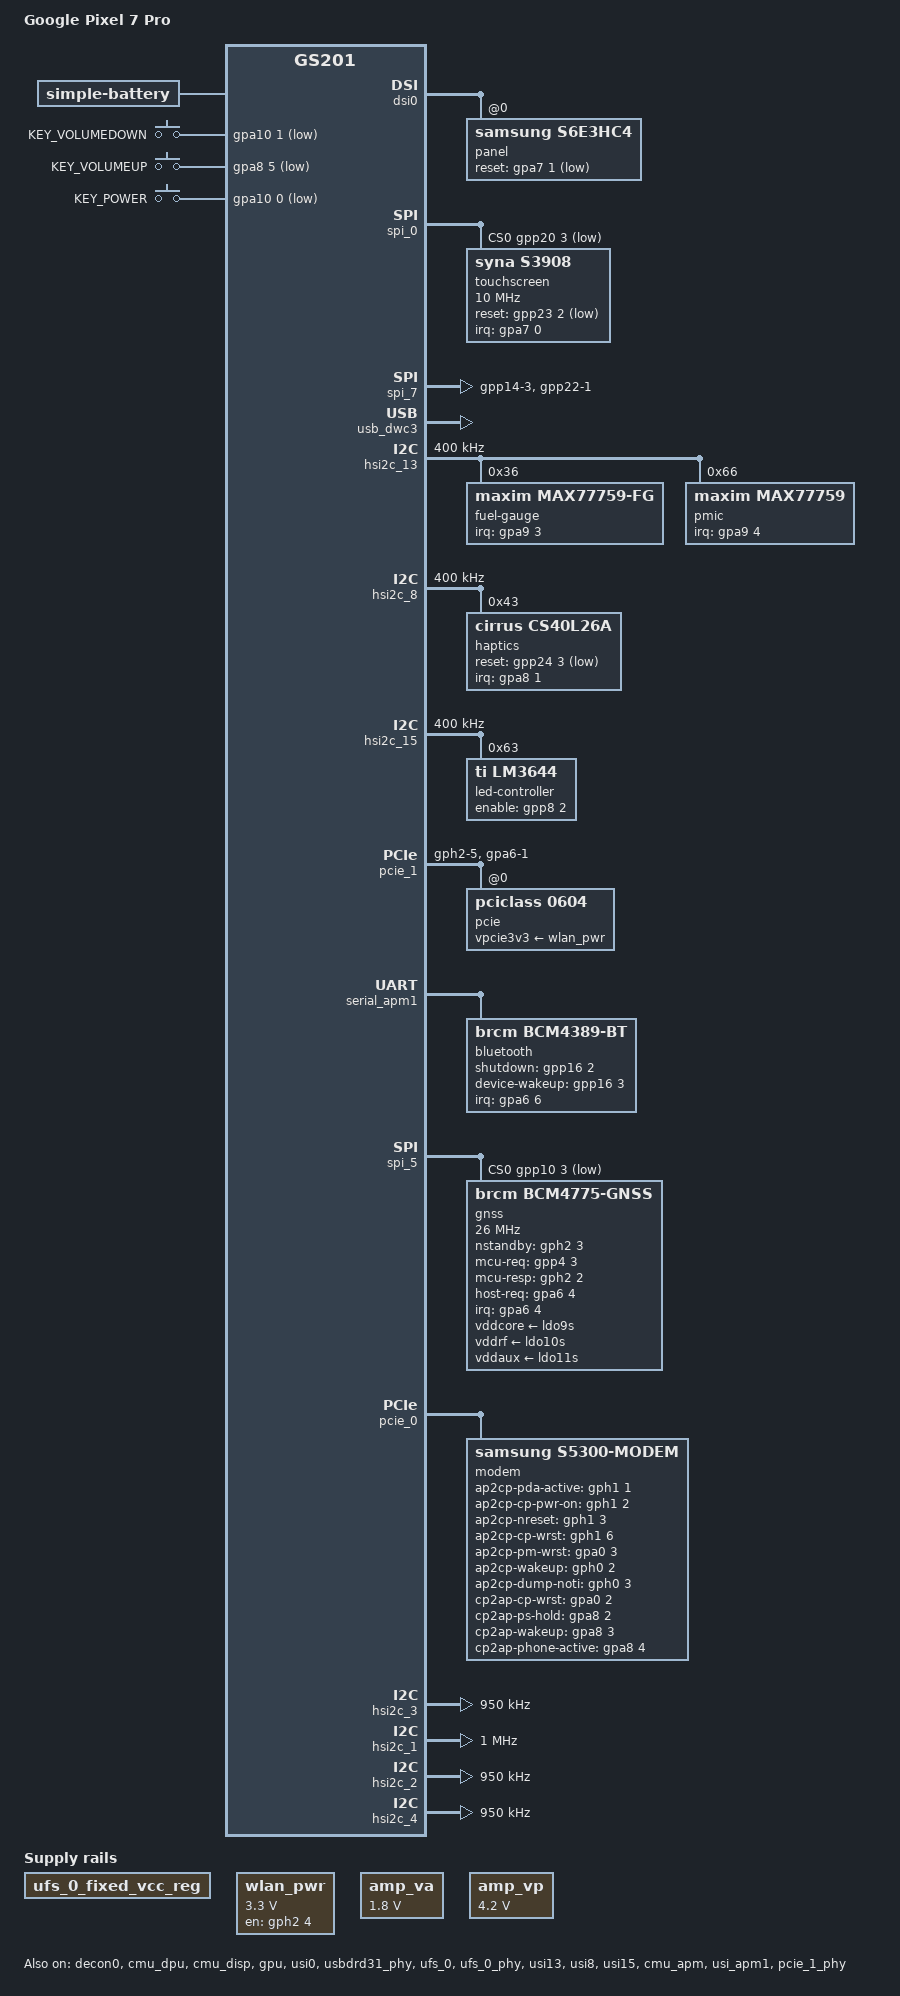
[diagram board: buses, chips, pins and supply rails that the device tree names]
// SPDX-License-Identifier: GPL-2.0-only
/*
 * Google Pixel 7 Pro (cheetah) - M1 bring-up board file.
 */

/dts-v1/;

#include <dt-bindings/input/input.h>
#include <dt-bindings/leds/common.h>
#include <dt-bindings/media/video-interfaces.h>
#include <dt-bindings/soc/samsung,exynos-usi.h>
#include <dt-bindings/usb/pd.h>
#include "gs201.dtsi"

/ {
	model = "Google Pixel 7 Pro";
	compatible = "google,gs201-cheetah", "google,gs201";

	/*
	 * ABL base-DTB match: (product id 0x09855000 | major rev). B0 = 1.
	 * Ship a second copy with 0x09855000 in the dtb section to be safe.
	 */
	soc_id = <0x09855001 0x0>;

	aliases {
		spi0 = &spi_0;
		spi5 = &spi_5;
	};

	chosen {
		/*
		 * ABL requires bootargs to exist; it appends its own after these.
		 * mem_sleep_default=s2idle: the firmware offers PSCI system
		 * suspend, so "mem" would otherwise mean "deep", which needs a
		 * PMU sleep sequence the kernel doesn't have yet.
		 */
		bootargs = "console=tty0 fbcon=font:TER16x32 quiet splash plymouth.force-scale=1 vt.global_cursor_default=0 panic=10 clk_ignore_unused pd_ignore_unused rdinit=/init omamobile.ufs-probe mem_sleep_default=s2idle";
		#address-cells = <2>;
		#size-cells = <1>;
		ranges;

		framebuffer0: framebuffer@fac00000 {
			compatible = "simple-framebuffer";
			memory-region = <&cont_splash_mem>;
			width = <1440>;
			height = <3120>;
			stride = <(1440 * 4)>;
			format = "a8r8g8b8";
			panel = <&panel>;
			/*
			 * Only the panel's size is read; simplefb must not wait for
			 * the panel device (it appears with the DSI host driver).
			 */
			post-init-providers = <&panel>;
		};
	};

	battery: battery {
		compatible = "simple-battery";
		charge-full-design-microamp-hours = <4926000>;
		/* Google's fv-max-uv; VEmpty of the gauge model */
		voltage-max-design-microvolt = <4450000>;
		voltage-min-design-microvolt = <3300000>;
		/*
		 * Charger limits without Google's step charging: the float
		 * voltage is fv-max-uv, the top of google,chg-cv-limits
		 * (4.2/4.3/4.45 V). The fast charge current is 0.3 C, the
		 * lowest google,chg-cc-limits entry at any voltage tier from
		 * 10 to 46 degC, and a charger selector (0x16) exactly.
		 */
		constant-charge-voltage-max-microvolt = <4450000>;
		constant-charge-current-max-microamp = <1466730>;
	};

	/*
	 * Goodix optical under-display fingerprint sensor. Trusty owns its SPI
	 * bus; Linux only switches its supply, reset and interrupt lines.
	 * Disabled until the fingerprint bring-up gates: it needs Trusty, and
	 * its supply needs the sub-PMIC (pmic-2) enabled.
	 */
	fingerprint {
		compatible = "goodix,g7-udfps";
		interrupt-parent = <&gpa9>;
		interrupts = <2 IRQ_TYPE_EDGE_RISING>;
		reset-gpios = <&gpp1 1 GPIO_ACTIVE_LOW>;
		vdd-supply = <&ldo15s>;
		pinctrl-0 = <&fp_irq &fp_reset>;
		pinctrl-names = "default";
		status = "disabled";
	};

	gpio-keys {
		compatible = "gpio-keys";
		pinctrl-0 = <&key_voldown>, <&key_volup>, <&key_power>;
		pinctrl-names = "default";

		button-vol-down {
			label = "KEY_VOLUMEDOWN";
			linux,code = <KEY_VOLUMEDOWN>;
			gpios = <&gpa10 1 GPIO_ACTIVE_LOW>;
			wakeup-source;
		};

		button-vol-up {
			label = "KEY_VOLUMEUP";
			linux,code = <KEY_VOLUMEUP>;
			gpios = <&gpa8 5 GPIO_ACTIVE_LOW>;
			wakeup-source;
		};

		/*
		 * PMIC_PWRON_OD_L: the S2MPG12 PWRONB line, also wired to the
		 * SoC. The PMIC's own long-press reset is unaffected.
		 */
		button-power {
			label = "KEY_POWER";
			linux,code = <KEY_POWER>;
			gpios = <&gpa10 0 GPIO_ACTIVE_LOW>;
			wakeup-source;
		};
	};

	/*
	 * UFS VCC. Google drives it from GPIO gpp0-1 (boot-on); there is no
	 * gs201 GPIO driver yet, so describe it as always on, as the
	 * bootloader leaves it.
	 */
	ufs_0_fixed_vcc_reg: regulator-ufs-vcc {
		compatible = "regulator-fixed";
		regulator-name = "ufs-vcc";
		regulator-always-on;
		regulator-boot-on;
	};

	/*
	 * WL_REG_ON of the BCM4389. Google raises it and waits 200 ms before
	 * training the link (WIFI_TURNON_DELAY in bcmdhd). Modelled as the
	 * root port's supply so the PCI pwrctrl core switches it around link
	 * training. With pcie_1 disabled nothing enables it, so the chip
	 * stays off.
	 */
	wlan_pwr: regulator-wlan {
		compatible = "regulator-fixed";
		regulator-name = "wlan-reg-on";
		regulator-min-microvolt = <3300000>;
		regulator-max-microvolt = <3300000>;
		gpio = <&gph2 4 GPIO_ACTIVE_HIGH>;
		enable-active-high;
		startup-delay-us = <200000>;
		pinctrl-0 = <&wlan_reg_on>;
		pinctrl-names = "default";
	};

	reserved-memory {
		#address-cells = <2>;
		#size-cells = <1>;
		ranges;

		/*
		 * All of the Wi-Fi chip's DMA buffers come from this pool. It
		 * keeps driver bugs and stray pointers away from the rest of
		 * RAM; it does not stop the chip's own firmware from reaching
		 * other memory (the HSI2 SysMMU and S2MPU see the PCIe and UFS
		 * masters on the same VID, so neither can confine it alone).
		 */
		wifi_dma_pool: wifi-dma-pool {
			compatible = "restricted-dma-pool";
			size = <0x1000000>;
			alignment = <0x0 0x200000>;
			/* the chip's writes above 4 GiB are not seen */
			alloc-ranges = <0x0 0x80000000 0x80000000>;
		};

		/*
		 * Camera capture buffers: the CSIS WDMA takes 32-bit addresses
		 * and its SysMMU is left in bypass, so frames go to contiguous
		 * memory below 4 GiB. Four 12.5 MP RAW10 frames are about
		 * 63 MiB; reusable, so the pages serve movable allocations while
		 * no camera streams.
		 */
		camera_pool: camera-pool {
			compatible = "shared-dma-pool";
			reusable;
			size = <0x8000000>;
			/* read with the root's #address-cells (2), not #size-cells */
			alignment = <0x0 0x200000>;
			alloc-ranges = <0x0 0x80000000 0x80000000>;
		};

		/* [I] verify against the ABL-injected node in /sys/firmware/fdt */
		/*
		 * Same region and layout as stock Android, so a log written by
		 * this kernel can be read from /sys/fs/pstore after a warm
		 * reboot into the stock slot.
		 */
		ramoops@fd3ff000 {
			compatible = "ramoops";
			reg = <0x0 0xfd3ff000 0x400000>;
			console-size = <0x200000>;
			pmsg-size = <0x200000>;
		};

		cont_splash_mem: splash@fac00000 {
			reg = <0x0 0xfac00000 (1440 * 3120 * 4)>;
			no-map;
		};

		/*
		 * Scanout buffers for gs-decon: DPP0 takes 32-bit addresses and
		 * the DPU SysMMU is bypassed. Room for five 1440x3120 XRGB8888
		 * buffers. Reusable, so the pages serve movable allocations
		 * while unused.
		 */
		display_pool: display-pool {
			compatible = "shared-dma-pool";
			reusable;
			size = <0x5c00000>;
			/* read with the root's #address-cells (2), not #size-cells */
			alignment = <0x0 0x200000>;
			alloc-ranges = <0x0 0x80000000 0x80000000>;
		};
	};
};

&acpm_ipc {
	/*
	 * Main PMIC, for its RTC (the wake-up timer for suspend tests). The
	 * driver only reads and writes the RTC and the interrupt masks; the
	 * rails stay as the bootloader set them. Disabled until proven on
	 * the phone (SUSPEND-PLAN.md).
	 */
	pmic-1 {
		compatible = "samsung,s2mpg12-pmic";
		interrupts = <GIC_SPI 72 IRQ_TYPE_LEVEL_HIGH>;
		google,vgpio2ap-sysreg = <&sysreg_vgpio2ap>;
		wakeup-source;
		status = "disabled";
	};

	/*
	 * Sub PMIC, for its LDOs (GNSS first). Only the LDO control
	 * registers are writable through it, and only rails described
	 * below can be switched; the rest have no constraints and are left
	 * as the bootloader set them. No interrupt yet (gpa0-1 on stock).
	 * Disabled until proven on the phone (GNSS-PLAN.md, G1).
	 */
	pmic-2 {
		compatible = "samsung,s2mpg13-pmic";
		status = "disabled";

		/*
		 * GPIO0 wakes the camera PMIC (SLG51002 chip select), GPIO1
		 * enables PP3200_BB_CAM and GPIO3 PP1300_CAM; the others are
		 * unused on cheetah. Nothing here switches a pin: only the
		 * camera nodes below, disabled until camera-pwr-test, do.
		 */
		pmic_2_gpio: gpio {
			compatible = "samsung,s2mpg13-gpio";
			gpio-controller;
			#gpio-cells = <2>;
		};

		regulators {
			/*
			 * GNSS: L9S_GNSS_CORE, L10S_GNSS_RF, L11S_GNSS_AUX.
			 * The ranges are stock's, so nothing sets a voltage
			 * at probe; they are switched by the GNSS driver.
			 */
			ldo9s: ldo9s {
				regulator-name = "vdd_gnss_core";
				regulator-min-microvolt = <725000>;
				regulator-max-microvolt = <1300000>;
			};

			ldo10s: ldo10s {
				regulator-name = "vdd_gnss_rf";
				regulator-min-microvolt = <1600000>;
				regulator-max-microvolt = <1950000>;
			};

			ldo11s: ldo11s {
				regulator-name = "vdd_gnss_aux";
				regulator-min-microvolt = <1600000>;
				regulator-max-microvolt = <1950000>;
			};

			/*
			 * Fingerprint: L15S_UDFPS_AVDD, the sensor's analog
			 * supply, with stock's range. Off at hand-off (stock
			 * keeps it on only through regulator-always-on);
			 * switched by the goodix-fp driver.
			 */
			ldo15s: ldo15s {
				regulator-name = "vdd_udfps";
				regulator-min-microvolt = <2500000>;
				regulator-max-microvolt = <3300000>;
			};

			/*
			 * L12S_CAMIO: the 1.8 V I/O supply of every camera
			 * sensor, EEPROM, actuator and the laser AF. Stock
			 * voltage. Disabled (so not described, and never
			 * switched) until camera-pwr-test.
			 */
			ldo12s: ldo12s {
				regulator-name = "vddio_cam";
				regulator-min-microvolt = <1800000>;
				regulator-max-microvolt = <1800000>;
				status = "disabled";
			};
		};
	};
};

&dsi0 {
	/*
	 * The bootloader leaves DECON0 -> DSIM0 -> panel running in command
	 * mode; simplefb scans out its framebuffer and reads the panel size
	 * here. Enabled only for display bring-up (DISPLAY-PLAN.md, gate D1).
	 */
	status = "okay";

	panel: panel@0 {
		compatible = "samsung,s6e3hc4";
		reg = <0>;
		/* high = running; the bootloader leaves it high */
		reset-gpios = <&gpa7 1 GPIO_ACTIVE_LOW>;
		/* vddi (S2MPG13 BUCKA), vddd (S2MPG12 LDO28), vci (LDO27): no driver yet */
		width-mm = <71>;
		height-mm = <155>;
	};
};

/*
 * Flip-only KMS on the bootloader's pipeline (DISPLAY-PLAN.md, D4a/D5d):
 * gs-decon takes the screen over from simpledrm once it and the DSIM and
 * panel drivers have probed.
 */
&decon0 {
	memory-region = <&display_pool>, <&cont_splash_mem>;
	memory-region-names = "pool", "boot-framebuffer";
	status = "okay";
};

/* Display bring-up, gate D1b: the DPU and DISP clock controllers. */
&cmu_dpu {
	status = "okay";
};

&cmu_disp {
	status = "okay";
};

&gpu {
	/* No mali-supply: the G3D rails follow the PMU power domain and ACPM. */
	status = "okay";
};

/* Touchscreen: Synaptics S3908 on USI0 SPI */
&usi0 {
	samsung,mode = <USI_MODE_SPI>;
	status = "okay";
};

&spi_0 {
	pinctrl-0 = <&spi0_bus &spi0_miso &spi0_cs_gpio>;
	cs-gpios = <&gpp20 3 GPIO_ACTIVE_LOW>;
	num-cs = <1>;
	status = "okay";

	/*
	 * The 1.8 V (VDD) and 3.3 V (AVDD) supplies are S2MPG12 LDO25M and
	 * LDO26M. There is no S2MPG12 regulator driver yet; the bootloader
	 * leaves both on.
	 */
	touchscreen@0 {
		compatible = "syna,s3908";
		reg = <0>;
		spi-max-frequency = <10000000>;
		interrupt-parent = <&gpa7>;
		interrupts = <0 IRQ_TYPE_LEVEL_LOW>;
		reset-gpios = <&gpp23 2 GPIO_ACTIVE_LOW>;
		pinctrl-0 = <&ts_irq &ts_reset>;
		pinctrl-names = "default";
		touchscreen-x-mm = <71>;
		touchscreen-y-mm = <154>;
	};
};

/*
 * Speaker amplifiers: two Cirrus Logic CS35L41 (revision B2) on PERIC0 USI7
 * SPI, from Google's gs201-cheetah-audio.dtsi. Chip select 0 is the top
 * speaker, which is also the earpiece; chip select 1 is the bottom
 * loudspeaker. Their audio port (TDM) is wired to the AoC audio DSP, so
 * without an AoC driver these nodes give register access only, no sound.
 *
 * The boost values are the stock ones, except the peak current: 2.5 A (stock
 * speaker playback) instead of the stock DT default of 3.5 A (voice calls),
 * until the bring-up gates in AUDIO-PLAN.md have passed. The inductor and
 * capacitor values select the boost loop coefficients and must stay as they
 * are. Everything stays disabled until a bring-up overlay enables it.
 */
/ {
	/* S2MPG13 BUCKA ("SA"), always on; no S2MPG13 regulator driver yet. */
	amp_va: regulator-amp-va {
		compatible = "regulator-fixed";
		regulator-name = "amp-va";
		regulator-min-microvolt = <1800000>;
		regulator-max-microvolt = <1800000>;
		regulator-always-on;
		regulator-boot-on;
	};

	/* The amplifiers' VP pins sit directly on VSYS (stock: V_SYS_DUMMY). */
	amp_vp: regulator-amp-vp {
		compatible = "regulator-fixed";
		regulator-name = "amp-vp";
		regulator-min-microvolt = <4200000>;
		regulator-max-microvolt = <4200000>;
		regulator-always-on;
		regulator-boot-on;
	};
};

&usi7 {
	samsung,mode = <USI_MODE_SPI>;
};

&spi_7 {
	pinctrl-0 = <&spi7_bus &spi7_miso &amp_top_cs &amp_bottom_cs>;
	cs-gpios = <&gpp14 3 GPIO_ACTIVE_LOW>, <&gpp22 1 GPIO_ACTIVE_LOW>;
	num-cs = <2>;

	amp_top: amplifier@0 {
		compatible = "cirrus,cs35l41";
		reg = <0>;
		#sound-dai-cells = <1>;
		interrupts-extended = <&gpa6 3 IRQ_TYPE_LEVEL_HIGH>;
		/* AMP1_RESET_L: the driver drives 1 to release reset */
		reset-gpios = <&gpp17 1 GPIO_ACTIVE_HIGH>;
		pinctrl-0 = <&amp_top_irq &amp_top_rst>;
		pinctrl-names = "default";
		VA-supply = <&amp_va>;
		VP-supply = <&amp_vp>;
		sound-name-prefix = "Top";
		cirrus,subsystem-id = "cheetah";
		cirrus,boost-type = <0>;
		cirrus,boost-peak-milliamp = <2500>;
		cirrus,boost-ind-nanohenry = <1000>;
		cirrus,boost-cap-microfarad = <30>;
		cirrus,asp-sdout-hiz = <3>;
		/* the stock protection firmware does not survive hibernation */
		cirrus,dsp-no-hibernate;
		/* GPIO2 = push-pull interrupt, active high */
		cirrus,gpio2-src-select = <5>;
		cirrus,gpio2-output-enable;
		status = "disabled";
	};

	amp_bottom: amplifier@1 {
		compatible = "cirrus,cs35l41";
		reg = <1>;
		#sound-dai-cells = <1>;
		interrupts-extended = <&gpa8 6 IRQ_TYPE_LEVEL_HIGH>;
		/* AMP2_RESET_L: the driver drives 1 to release reset */
		reset-gpios = <&gpp25 2 GPIO_ACTIVE_HIGH>;
		pinctrl-0 = <&amp_bottom_irq &amp_bottom_rst>;
		pinctrl-names = "default";
		VA-supply = <&amp_va>;
		VP-supply = <&amp_vp>;
		sound-name-prefix = "Bottom";
		cirrus,subsystem-id = "cheetah";
		cirrus,boost-type = <0>;
		cirrus,boost-peak-milliamp = <2500>;
		cirrus,boost-ind-nanohenry = <1000>;
		cirrus,boost-cap-microfarad = <30>;
		cirrus,asp-sdout-hiz = <3>;
		/* the stock protection firmware does not survive hibernation */
		cirrus,dsp-no-hibernate;
		cirrus,gpio2-src-select = <5>;
		cirrus,gpio2-output-enable;
		status = "disabled";
	};
};

&pinctrl_far_alive {
	amp_top_irq: amp-top-irq-pins {
		samsung,pins = "gpa6-3";
		samsung,pin-function = <GS101_PIN_FUNC_EINT>;
		samsung,pin-pud = <GS101_PIN_PULL_NONE>;
	};

	amp_bottom_irq: amp-bottom-irq-pins {
		samsung,pins = "gpa8-6";
		samsung,pin-function = <GS101_PIN_FUNC_EINT>;
		samsung,pin-pud = <GS101_PIN_PULL_NONE>;
	};
};

&pinctrl_peric0 {
	amp_top_cs: amp-top-cs-pins {
		samsung,pins = "gpp14-3";
		samsung,pin-function = <GS101_PIN_FUNC_OUTPUT>;
		samsung,pin-pud = <GS101_PIN_PULL_NONE>;
		samsung,pin-drv = <GS101_PIN_DRV_5_MA>;
	};

	amp_top_rst: amp-top-rst-pins {
		samsung,pins = "gpp17-1";
		samsung,pin-function = <GS101_PIN_FUNC_OUTPUT>;
		samsung,pin-pud = <GS101_PIN_PULL_NONE>;
	};
};

&pinctrl_peric1 {
	amp_bottom_cs: amp-bottom-cs-pins {
		samsung,pins = "gpp22-1";
		samsung,pin-function = <GS101_PIN_FUNC_OUTPUT>;
		samsung,pin-pud = <GS101_PIN_PULL_NONE>;
	};

	amp_bottom_rst: amp-bottom-rst-pins {
		samsung,pins = "gpp25-2";
		samsung,pin-function = <GS101_PIN_FUNC_OUTPUT>;
		samsung,pin-pud = <GS101_PIN_PULL_NONE>;
	};
};

&usbdrd31_phy {
	status = "okay";
};

&usb_dwc3 {
	status = "okay";
};

&ufs_0 {
	vcc-supply = <&ufs_0_fixed_vcc_reg>;
	status = "okay";
};

&ufs_0_phy {
	status = "okay";
};

/*
 * MAX77759 (charger, Type-C port controller, fuel gauge) on USI13. All of
 * its interrupt lines are on ALIVE gpa9, active low with pull-ups.
 *
 * The Type-C port controller stays disabled: the USB link is our only way
 * into the phone, and TCPM would take over VBUS and data role from the
 * forced-VBUS setup the USB PHY uses today. Its graph links to the USB PHY
 * (orientation, i.e. VBUS valid) and dwc3 (role switch) are added by the
 * bring-up overlays. The charger has no DT node of its own (it is an MFD
 * cell of pmic@66, which carries its monitored-battery); its probe turns
 * charging off until a "tcpm-source" power supply reports a source, unless
 * it is loaded with default_ilim_ua.
 */
&usi13 {
	samsung,mode = <USI_MODE_I2C>;
	status = "okay";
};

&hsi2c_13 {
	clock-frequency = <400000>;
	status = "okay";

	usb-typec@25 {
		compatible = "maxim,max77759-tcpci", "maxim,max33359";
		reg = <0x25>;
		interrupts-extended = <&gpa9 7 IRQ_TYPE_LEVEL_LOW>;
		pinctrl-0 = <&typec_int>;
		pinctrl-names = "default";
		status = "disabled";

		/*
		 * Sink only for now: sourcing VBUS goes through an external
		 * boost on this board (stock: max77759,ext-otg-only, switched
		 * by MAX77759 GPIO5 "bst-on" and the TCPC's EXTBST_CTRL), which
		 * has no driver yet, so there is no vbus-supply. MAX77759 GPIO6
		 * is the VBUS input switch (stock in-switch-gpio): leave it.
		 * Stock is dual role with try-sink and a 5 V / 900 mA source
		 * PDO. Sink PDOs as on gs101 and stock; PD stays off.
		 */
		connector {
			compatible = "usb-c-connector";
			label = "USB-C";
			data-role = "dual";
			power-role = "sink";
			self-powered;
			op-sink-microwatt = <2600000>;
			sink-pdos = <PDO_FIXED(5000, 3000,
					       (PDO_FIXED_DATA_SWAP
						| PDO_FIXED_USB_COMM
						| PDO_FIXED_HIGHER_CAP
						| PDO_FIXED_DUAL_ROLE))
				     PDO_FIXED(9000, 2200, 0)
				     PDO_PPS_APDO(5000, 11000, 3000)>;
			pd-disable;
			typec-power-opmode = "default";
		};
	};

	fuel-gauge@36 {
		compatible = "maxim,max77759-fg";
		reg = <0x36>;
		interrupts-extended = <&gpa9 3 IRQ_TYPE_LEVEL_LOW>;
		pinctrl-0 = <&if_pmic_fg_int>;
		pinctrl-names = "default";
		/* maxim,rsense-default = <500> (10 uOhm units) in Google's tree */
		shunt-resistor-micro-ohms = <5000>;
		monitored-battery = <&battery>;

		/*
		 * Battery model for the pack with a 1 kOhm ID resistor, the one
		 * this phone has (stock: "device battery RID: 1 kohm"). From
		 * Google's gs201-cheetah-battery-data.dtsi (cos-a1-1k, model
		 * version 1), except RelaxCfg 0x143b and FilterCfg 0xc613, the
		 * values stock writes over the model's at boot (r_regval_1720x,
		 * filtercfg-default). TaskPeriod 0x2d00 makes one capacity LSB
		 * 2 mAh with 5 mOhm: DesignCap 0x09c5 = 5002 mAh.
		 */
		maxim,fg-model = /bits/ 16 <
			0xa4e0 0xb750 0xb8a0 0xba60 0xbc10 0xbdd0 0xbf30 0xc070
			0xc1e0 0xc4b0 0xc7f0 0xcd80 0xd130 0xd4e0 0xd920 0xdca0
			0x0120 0x1240 0x0c00 0x12a0 0x1400 0x1700 0x1060 0x0fd0
			0x07e0 0x07f0 0x07c0 0x06d0 0x06c0 0x06f0 0x0640 0x0640
			0x0200 0x0200 0x0200 0x0200 0x0200 0x0200 0x0200 0x0200
			0x0200 0x0200 0x0200 0x0200 0x0200 0x0200 0x0200 0x0200
		>;
		maxim,fg-params = /bits/ 16 <
			0xf060	/* IAvgEmpty */
			0x143b	/* RelaxCfg */
			0x260e	/* LearnCfg */
			0x4217	/* Config: external thermistor, TEx clear */
			0x0090	/* Config2 */
			0x5f00	/* FullSOCThr */
			0x09c5	/* FullCapRep */
			0x09c5	/* DesignCap */
			0x3200	/* dPAcc */
			0x0271	/* dQAcc */
			0x09c5	/* FullCapNom */
			0xa561	/* VEmpty */
			0x2080	/* QRTable00 */
			0x0e80	/* QRTable10 */
			0x0580	/* QRTable20 */
			0x0480	/* QRTable30 */
			0x0770	/* RComp0 */
			0x2202	/* TempCo */
			0x0628	/* IChgTerm */
			0xed51	/* TGain */
			0x1eba	/* TOff */
			0x0014	/* Curve */
			0x3870	/* MiscCfg */
			0x1900	/* AtRate */
			0x2241	/* ConvgCfg */
			0xc613	/* FilterCfg */
			0x2d00	/* TaskPeriod */
		>;
	};

	pmic@66 {
		compatible = "maxim,max77759";
		reg = <0x66>;
		interrupts-extended = <&gpa9 4 IRQ_TYPE_LEVEL_LOW>;
		pinctrl-0 = <&if_pmic_int>;
		pinctrl-names = "default";
		interrupt-controller;
		#interrupt-cells = <2>;
		/* for the charger cell */
		monitored-battery = <&battery>;

		gpio {
			compatible = "maxim,max77759-gpio";
			gpio-controller;
			#gpio-cells = <2>;
			interrupt-controller;
			#interrupt-cells = <2>;
		};
	};
};

/*
 * Haptics: Cirrus Logic CS40L26A at 0x43 on PERIC0 USI8 (Google's I2C bus
 * 8), INTb on gpa8-1, RESET on gpp24-3. Boost and actuator values are the
 * stock ones (Google's gs201-cs40l26a-config.dtsi). Tested on the phone
 * (HAPTICS-TORCH-PLAN.md H1-H4). The bus pins are on PERIC0 (gpp16-0/1).
 */
&pinctrl_peric0 {
	status = "okay";
};

&usi8 {
	samsung,mode = <USI_MODE_I2C>;
	status = "okay";
};

&hsi2c_8 {
	clock-frequency = <400000>;
	status = "okay";

	haptics: haptic-driver@43 {
		compatible = "cirrus,cs40l26a";
		reg = <0x43>;
		interrupts-extended = <&gpa8 1 IRQ_TYPE_LEVEL_LOW>;
		reset-gpios = <&gpp24 3 GPIO_ACTIVE_LOW>;
		pinctrl-0 = <&hapt_amp_irq &hapt_amp_rst>;
		pinctrl-names = "default";
		cirrus,boost-peak-microamp = <2500000>;
		cirrus,boost-ctl-microvolt = <11000000>;
		cirrus,lra-f0-hz = <145>;
		cirrus,lra-redc-micro-ohms = <13000000>;
	};

	/*
	 * NFC: the NCI controller of the ST54J (NFC + eSE combo) at 0x08,
	 * IRQ on gpa9-1, reset on gph1-5 (HSI1). Stock: st21nfc@8. The eSE
	 * side (SPI, reset gph1-4) is left alone: no ese-present here.
	 * The reference clock is the PMU's CLKOUT1 pad, which stock enables
	 * while the device is open. Disabled until the nfc-test overlay.
	 */
	nfc@8 {
		compatible = "st,st54j-i2c", "st,st21nfcc-i2c";
		reg = <0x08>;
		clocks = <&pmu_system_controller 1>;	/* CLKOUT1 */
		interrupts-extended = <&gpa9 1 IRQ_TYPE_LEVEL_HIGH>;
		reset-gpios = <&gph1 5 GPIO_ACTIVE_HIGH>;
		pinctrl-0 = <&nfc_rst>;
		pinctrl-names = "default";
		status = "disabled";
	};
};

/*
 * Rear flash LED: TI LM3644TT at 0x63 on PERIC1 USI15 (Google's I2C bus 15,
 * shared with the camera EEPROM), HWEN on gpp8-2. Stock drives it from the
 * camera HAL through LWIS. Torch only; the cap here is our own bring-up
 * limit, not a stock value. Tested on the phone (T1-T4).
 */
&usi15 {
	samsung,mode = <USI_MODE_I2C>;
	status = "okay";
};

&hsi2c_15 {
	clock-frequency = <400000>;
	status = "okay";

	led-controller@63 {
		compatible = "ti,lm3644";
		reg = <0x63>;
		enable-gpios = <&gpp8 2 GPIO_ACTIVE_HIGH>;

		led {
			function = LED_FUNCTION_TORCH;
			color = <LED_COLOR_ID_WHITE>;
			led-sources = <1 2>;
			led-max-microamp = <50000>;
		};
	};
};

&pinctrl_far_alive {
	hapt_amp_irq: hapt-amp-irq-pins {
		samsung,pins = "gpa8-1";
		samsung,pin-function = <GS101_PIN_FUNC_EINT>;
		samsung,pin-pud = <GS101_PIN_PULL_NONE>;
		samsung,pin-drv = <GS101_PIN_DRV_2_5_MA>;
	};
};

&pinctrl_peric1 {
	hapt_amp_rst: hapt-amp-rst-pins {
		samsung,pins = "gpp24-3";
		samsung,pin-function = <GS101_PIN_FUNC_OUTPUT>;
		samsung,pin-pud = <GS101_PIN_PULL_NONE>;
		samsung,pin-drv = <GS101_PIN_DRV_2_5_MA>;
	};
};

&pinctrl_gpio_alive {
	fp_irq: fp-irq-pins {
		samsung,pins = "gpa9-2";
		samsung,pin-function = <GS101_PIN_FUNC_EINT>;
		samsung,pin-pud = <GS101_PIN_PULL_NONE>;
		samsung,pin-drv = <GS101_PIN_DRV_2_5_MA>;
	};

	if_pmic_fg_int: if-pmic-fg-int-pins {
		samsung,pins = "gpa9-3";
		samsung,pin-function = <GS101_PIN_FUNC_EINT>;
		samsung,pin-pud = <GS101_PIN_PULL_UP>;
		samsung,pin-drv = <GS101_PIN_DRV_2_5_MA>;
	};

	if_pmic_int: if-pmic-int-pins {
		samsung,pins = "gpa9-4";
		samsung,pin-function = <GS101_PIN_FUNC_EINT>;
		samsung,pin-pud = <GS101_PIN_PULL_UP>;
		samsung,pin-drv = <GS101_PIN_DRV_2_5_MA>;
	};

	typec_int: typec-int-pins {
		samsung,pins = "gpa9-7";
		samsung,pin-function = <GS101_PIN_FUNC_EINT>;
		samsung,pin-pud = <GS101_PIN_PULL_UP>;
		samsung,pin-drv = <GS101_PIN_DRV_2_5_MA>;
	};
};

/*
 * Wi-Fi: BCM4389 on PCIe GEN4A_1, one lane at Gen2 as on stock. The chip's
 * DMA buffers come from wifi_dma_pool. The chip's 0.85 V and 1.8 V PCIe
 * rails (S2MPG13 LDO3 and LDO18) are always on.
 */
&pcie_1 {
	status = "okay";
	pinctrl-0 = <&pcie1_clkreq>, <&pcie1_perst>, <&wlan_dev_wake>,
		    <&wlan_host_wake>;
	pinctrl-names = "default";

	pcie@0,0 {
		compatible = "pciclass,0604";
		device_type = "pci";
		reg = <0x0 0x0 0x0 0x0 0x0>;
		bus-range = <0x01 0xff>;
		#address-cells = <3>;
		#size-cells = <2>;
		ranges;
		vpcie3v3-supply = <&wlan_pwr>;

		wifi@0,0 {
			compatible = "pci14e4,4441";
			reg = <0x10000 0x0 0x0 0x0 0x0>;
			brcm,board-type = "google,gs201-cheetah";
			memory-region = <&wifi_dma_pool>;
		};
	};
};

/*
 * Bluetooth: the BCM4389 BT core on the APM USI1 UART (ttySAC18 in
 * Google's kernel). Tested on the phone (BLUETOOTH-PLAN.md BT1-BT3): the
 * UART clocks come from a read-only CMU_APM subset, and BT_REG_ON and
 * BT_DEV_WAKE are on PERIC0's gpp16. BT_REG_ON is separate from Wi-Fi's
 * WL_REG_ON (gph2-4), so Bluetooth powers up alone.
 */
&cmu_apm {
	status = "okay";
};

&usi_apm1 {
	status = "okay";
};

&serial_apm1 {
	status = "okay";

	bluetooth {
		compatible = "brcm,bcm4389-bt";
		shutdown-gpios = <&gpp16 2 GPIO_ACTIVE_HIGH>;
		device-wakeup-gpios = <&gpp16 3 GPIO_ACTIVE_HIGH>;
		interrupts-extended = <&gpa6 6 IRQ_TYPE_EDGE_RISING>;
		interrupt-names = "host-wakeup";
		pinctrl-0 = <&bt_reg_on &bt_dev_wake &bt_host_wake>;
		pinctrl-names = "default";
		max-speed = <3000000>;
	};
};

&pinctrl_peric0 {
	status = "okay";

	bt_reg_on: bt-reg-on-pins {
		samsung,pins = "gpp16-2";
		samsung,pin-function = <GS101_PIN_FUNC_OUTPUT>;
		samsung,pin-pud = <GS101_PIN_PULL_NONE>;
		samsung,pin-drv = <GS101_PIN_DRV_2_5_MA>;
	};

	bt_dev_wake: bt-dev-wake-pins {
		samsung,pins = "gpp16-3";
		samsung,pin-function = <GS101_PIN_FUNC_OUTPUT>;
		samsung,pin-pud = <GS101_PIN_PULL_NONE>;
		samsung,pin-drv = <GS101_PIN_DRV_2_5_MA>;
	};
};

&pcie_1_phy {
	status = "okay";
};

/*
 * The window for the PCIe System MMU. The node stays disabled: the PCIe and
 * UFS masters share its VID 0, so it cannot confine the Wi-Fi chip without
 * also confining storage.
 */
&pcie_1_sysmmu {
	google,dma-window = <&wifi_dma_pool>;
};

&pinctrl_far_alive {
	wlan_host_wake: wlan-host-wake-pins {
		samsung,pins = "gpa6-1";
		samsung,pin-function = <GS101_PIN_FUNC_EINT>;
		samsung,pin-pud = <GS101_PIN_PULL_DOWN>;
		samsung,pin-drv = <GS101_PIN_DRV_2_5_MA>;
	};

	bt_host_wake: bt-host-wake-pins {
		samsung,pins = "gpa6-6";
		samsung,pin-function = <GS101_PIN_FUNC_EINT>;
		samsung,pin-pud = <GS101_PIN_PULL_DOWN>;
		samsung,pin-drv = <GS101_PIN_DRV_2_5_MA>;
	};
};

&pinctrl_hsi2 {
	status = "okay";

	wlan_reg_on: wlan-reg-on-pins {
		samsung,pins = "gph2-4";
		samsung,pin-function = <GS101_PIN_FUNC_OUTPUT>;
		samsung,pin-pud = <GS101_PIN_PULL_NONE>;
		samsung,pin-drv = <GS101_PIN_DRV_2_5_MA>;
		samsung,pin-con-pdn = <GS101_PIN_PDN_PREV>;
		samsung,pin-pud-pdn = <GS101_PIN_PULL_NONE>;
	};

	wlan_dev_wake: wlan-dev-wake-pins {
		samsung,pins = "gph2-5";
		samsung,pin-function = <GS101_PIN_FUNC_INPUT>;
		samsung,pin-pud = <GS101_PIN_PULL_DOWN>;
		samsung,pin-drv = <GS101_PIN_DRV_2_5_MA>;
		samsung,pin-con-pdn = <GS101_PIN_PDN_PREV>;
		samsung,pin-pud-pdn = <GS101_PIN_PULL_DOWN>;
	};
};

/*
 * GNSS: Broadcom BCM4775x on PERIC0 USI5 SPI (Google's spi5), 26 MHz, mode 3,
 * as on stock (spi5 node and bcm4775@0 in the stock device tree). Chip
 * select is driven as a GPIO, like the touchscreen's. The stock lhd/gpsd
 * daemons drive it through /dev/ttyBCM. Disabled until the gnss-test
 * overlay (GNSS-PLAN.md, G2).
 */
&usi5 {
	samsung,mode = <USI_MODE_SPI>;
};

&spi_5 {
	pinctrl-0 = <&spi5_bus &spi5_cs_gpio>;
	cs-gpios = <&gpp10 3 GPIO_ACTIVE_LOW>;
	num-cs = <1>;

	gnss@0 {
		compatible = "brcm,bcm4775-gnss";
		reg = <0>;
		spi-max-frequency = <26000000>;
		spi-cpol;
		spi-cpha;
		interrupts-extended = <&gpa6 4 IRQ_TYPE_LEVEL_HIGH>;
		/* Raw levels: lhd writes 1 to the nstandby attribute to run it */
		nstandby-gpios = <&gph2 3 GPIO_ACTIVE_HIGH>;
		mcu-req-gpios = <&gpp4 3 GPIO_ACTIVE_HIGH>;
		mcu-resp-gpios = <&gph2 2 GPIO_ACTIVE_HIGH>;
		host-req-gpios = <&gpa6 4 GPIO_ACTIVE_HIGH>;
		vddcore-supply = <&ldo9s>;
		vddrf-supply = <&ldo10s>;
		vddaux-supply = <&ldo11s>;
		pinctrl-0 = <&gnss_nstandby &gnss_mcu_resp &gnss_mcu_req
			     &gnss_host_req>;
		pinctrl-names = "default";
	};
};

&pinctrl_hsi2 {
	gnss_mcu_resp: gnss-mcu-resp-pins {
		samsung,pins = "gph2-2";
		samsung,pin-function = <GS101_PIN_FUNC_INPUT>;
		samsung,pin-pud = <GS101_PIN_PULL_DOWN>;
		samsung,pin-drv = <GS101_PIN_DRV_2_5_MA>;
		samsung,pin-con-pdn = <GS101_PIN_PDN_PREV>;
		samsung,pin-pud-pdn = <GS101_PIN_PULL_DOWN>;
	};

	gnss_nstandby: gnss-nstandby-pins {
		samsung,pins = "gph2-3";
		samsung,pin-pud = <GS101_PIN_PULL_NONE>;
		samsung,pin-drv = <GS101_PIN_DRV_2_5_MA>;
		samsung,pin-con-pdn = <GS101_PIN_PDN_PREV>;
		samsung,pin-pud-pdn = <GS101_PIN_PULL_NONE>;
	};
};

&pinctrl_peric0 {
	gnss_mcu_req: gnss-mcu-req-pins {
		samsung,pins = "gpp4-3";
		samsung,pin-pud = <GS101_PIN_PULL_NONE>;
		samsung,pin-drv = <GS101_PIN_DRV_2_5_MA>;
	};
};

&pinctrl_far_alive {
	gnss_host_req: gnss-host-req-pins {
		samsung,pins = "gpa6-4";
		samsung,pin-function = <GS101_PIN_FUNC_EINT>;
		samsung,pin-pud = <GS101_PIN_PULL_NONE>;
		samsung,pin-drv = <GS101_PIN_DRV_2_5_MA>;
	};
};

&pinctrl_hsi1 {
	/* As stock: only the power-down state; the driver owns the level. */
	nfc_rst: nfc-rst-pins {
		samsung,pins = "gph1-5";
		samsung,pin-con-pdn = <GS101_PIN_PDN_PREV>;
		samsung,pin-pud-pdn = <GS101_PIN_PULL_NONE>;
	};
};

/*
 * Modem: Samsung S5300 on PCIe GEN4A_0 (HSI1), with its control lines from
 * the stock cpif node and its shared memory from stock's cp_shmem node (IPC,
 * MSI page, packet buffers). Raw levels, as Google's CPIF drives them. The
 * link driver (pcie-gs201-cp) drives the lines while this node is enabled;
 * the modem driver (CPIF) takes them, and the memory, from this node when
 * an overlay disables it for the link driver (MODEM-PLAN.md M3). Disabled
 * until the modem-link-test or modem-cpif-test overlay, which also enable
 * the HSI1 pin controller.
 */
&pcie_0 {
	modem {
		compatible = "samsung,s5300-modem";
		memory-region = <&{/reserved-memory/cp-rmem@ea400000}>,
				<&cp_msi_mem>,
				<&{/reserved-memory/cp-rmem1@e8000000}>;
		ap2cp-pda-active-gpios = <&gph1 1 GPIO_ACTIVE_HIGH>;
		ap2cp-cp-pwr-on-gpios = <&gph1 2 GPIO_ACTIVE_HIGH>;
		ap2cp-nreset-gpios = <&gph1 3 GPIO_ACTIVE_HIGH>;
		ap2cp-cp-wrst-gpios = <&gph1 6 GPIO_ACTIVE_HIGH>;
		ap2cp-pm-wrst-gpios = <&gpa0 3 GPIO_ACTIVE_HIGH>;
		ap2cp-wakeup-gpios = <&gph0 2 GPIO_ACTIVE_HIGH>;
		ap2cp-dump-noti-gpios = <&gph0 3 GPIO_ACTIVE_HIGH>;
		cp2ap-cp-wrst-gpios = <&gpa0 2 GPIO_ACTIVE_HIGH>;
		cp2ap-ps-hold-gpios = <&gpa8 2 GPIO_ACTIVE_HIGH>;
		cp2ap-wakeup-gpios = <&gpa8 3 GPIO_ACTIVE_HIGH>;
		cp2ap-phone-active-gpios = <&gpa8 4 GPIO_ACTIVE_HIGH>;
	};
};

&pinctrl_peric0 {
	fp_reset: fp-reset-pins {
		samsung,pins = "gpp1-1";
		samsung,pin-function = <GS101_PIN_FUNC_OUTPUT>;
		samsung,pin-pud = <GS101_PIN_PULL_NONE>;
	};
};

/*
 * Camera power (CAMERA-PLAN.md 1.2), from Google's GPL pantah camera PMIC
 * device tree: two fixed supplies switched by S2MPG13 GPIOs feed the
 * SLG51002 camera PMIC on I2C bus 8, which with LDO12S powers the modules.
 * Voltages are stock's. All disabled until the camera-pwr-test overlay; the
 * new drivers are blacklisted from autoload as well.
 */
/ {
	pp3200_bb_cam: regulator-pp3200-bb-cam {
		compatible = "regulator-fixed";
		regulator-name = "PP3200_BB_CAM";
		regulator-min-microvolt = <3200000>;
		regulator-max-microvolt = <3200000>;
		regulator-enable-ramp-delay = <2000>;
		gpio = <&pmic_2_gpio 1 GPIO_ACTIVE_HIGH>;
		enable-active-high;
		status = "disabled";
	};

	pp1300_cam: regulator-pp1300-cam {
		compatible = "regulator-fixed";
		regulator-name = "PP1300_CAM";
		regulator-min-microvolt = <1300000>;
		regulator-max-microvolt = <1300000>;
		regulator-enable-ramp-delay = <2000>;
		gpio = <&pmic_2_gpio 3 GPIO_ACTIVE_HIGH>;
		enable-active-high;
		status = "disabled";
	};
};

&hsi2c_8 {
	cam_pmic: pmic@75 {
		compatible = "dlg,slg51002";
		reg = <0x75>;
		dlg,cs-gpios = <&pmic_2_gpio 0 GPIO_ACTIVE_HIGH>;
		vin1-2-supply = <&pp3200_bb_cam>;
		vin3-supply = <&pp3200_bb_cam>;
		vin4-supply = <&pp3200_bb_cam>;
		vin5-supply = <&pp3200_bb_cam>;
		vin6-supply = <&pp1300_cam>;
		vin7-supply = <&pp1300_cam>;
		vin8-supply = <&pp1300_cam>;
		status = "disabled";

		regulators {
			cam_ldo1: ldo1 {
				regulator-name = "vdda_main";
				regulator-min-microvolt = <2850000>;
				regulator-max-microvolt = <2850000>;
			};

			cam_ldo2: ldo2 {
				regulator-name = "vdda_uw";
				regulator-min-microvolt = <2850000>;
				regulator-max-microvolt = <2850000>;
			};

			cam_ldo3: ldo3 {
				regulator-name = "vdda_tele";
				regulator-min-microvolt = <2250000>;
				regulator-max-microvolt = <2250000>;
			};

			cam_ldo4: ldo4 {
				regulator-name = "vdd_main_af";
				regulator-min-microvolt = <2900000>;
				regulator-max-microvolt = <2900000>;
			};

			cam_ldo5: ldo5 {
				regulator-name = "vdd_tele_module";
				regulator-min-microvolt = <2850000>;
				regulator-max-microvolt = <2850000>;
			};

			cam_ldo6: ldo6 {
				regulator-name = "vddd_uw";
				regulator-min-microvolt = <1100000>;
				regulator-max-microvolt = <1100000>;
			};

			cam_ldo7: ldo7 {
				regulator-name = "vddd_tele";
				regulator-min-microvolt = <1000000>;
				regulator-max-microvolt = <1000000>;
			};

			cam_ldo8: ldo8 {
				regulator-name = "vddd_main_front";
				regulator-min-microvolt = <1100000>;
				regulator-max-microvolt = <1100000>;
			};

			cam_sw1: sw1 {
				regulator-name = "cam_sw1";
			};

			cam_sw2: sw2 {
				regulator-name = "cam_sw2";
			};

			cam_sw3: sw3 {
				regulator-name = "cam_sw3";
			};

			cam_sw4: sw4 {
				regulator-name = "cam_sw4";
			};
		};
	};
};

/*
 * Ultrawide camera module on PERIC0 USI3 (Google's I2C bus 3): sensor at
 * 0x1a (16-bit addresses, 8-bit values), module EEPROM at 0x50, AF actuator
 * at 0x0f. Bring-up only (CAMERA-PLAN.md CAM2/CAM3): gs201-cam-power powers
 * the sensor in stock's order (PP3200_BB, PP1300, LDO12S, LDO6, LDO2, 1 ms,
 * MCLK on, 1 ms, reset released, 10 ms) and reads its identification
 * registers; the EEPROM needs LDO12S only and is only checked for an
 * answer. MCLK is CIS_CLK0 on gpp3-0 at whatever rate the bootloader set
 * (stock asks for 24 MHz). Disabled until camera-pwr-test.
 */
&usi3 {
	samsung,mode = <USI_MODE_I2C>;
};

&hsi2c_3 {
	clock-frequency = <950000>;

	camera@1a {
		compatible = "google,gs201-camera-power-test";
		reg = <0x1a>;
		clocks = <&cmu_top CLK_DOUT_CMU_CIS_CLK0>;
		pinctrl-names = "on", "off";
		pinctrl-0 = <&cam_uw_mclk_on>;
		pinctrl-1 = <&cam_uw_mclk_off>;
		reset-gpios = <&gpp6 3 GPIO_ACTIVE_LOW>;
		google,supply-names = "pp3200", "pp1300", "dovdd", "dvdd", "avdd";
		pp3200-supply = <&pp3200_bb_cam>;
		pp1300-supply = <&pp1300_cam>;
		dovdd-supply = <&ldo12s>;
		dvdd-supply = <&cam_ldo6>;
		avdd-supply = <&cam_ldo2>;
		google,supply-on-delays-us = <0 0 0 0 1000>;
		google,supply-off-delays-us = <0 0 1000 0 0>;
		google,mclk-delay-us = <1000>;
		google,reset-delay-us = <10000>;
		/* Sony model ID, then the CCS identification block */
		google,readable-registers = <0x0016 0x0017 0x0000 0x0001 0x0002
					     0x0003 0x0004 0x0005>;
		status = "disabled";
	};

	eeprom@50 {
		compatible = "google,gs201-camera-power-test";
		reg = <0x50>;
		google,supply-names = "dovdd";
		dovdd-supply = <&ldo12s>;
		google,supply-on-delays-us = <1000>;
		google,supply-off-delays-us = <1000>;
		status = "disabled";
	};
};

&pinctrl_peric0 {
	cam_uw_mclk_on: cam-uw-mclk-on-pins {
		samsung,pins = "gpp3-0";
		samsung,pin-function = <GS101_PIN_FUNC_2>;
		samsung,pin-pud = <GS101_PIN_PULL_NONE>;
		samsung,pin-drv = <GS101_PIN_DRV_2_5_MA>;
	};

	cam_uw_mclk_off: cam-uw-mclk-off-pins {
		samsung,pins = "gpp3-0";
		samsung,pin-function = <GS101_PIN_FUNC_OUTPUT>;
		samsung,pin-pud = <GS101_PIN_PULL_DOWN>;
		samsung,pin-drv = <GS101_PIN_DRV_2_5_MA>;
	};
};

/*
 * Ultrawide capture (CAMERA-PLAN.md CAM3b/CAM4): the Sony IMX386 [HAL model
 * ID 0x0386] on four D-PHY lanes at 1548 Mbps per lane, through CSIS link 2
 * (DC-PHY slaves 2 and 3 as one four-lane receiver) and CSIS WDMA context 0
 * to memory. With the sensor streaming, links 0 and 1 see nothing; link 2 is
 * where its data arrives. All disabled; the camera-stream-link2 overlay
 * enables the path and the drivers are blacklisted as well. The MCLK runs
 * from the 24.576 MHz oscillator, as the stock sensor settings expect.
 */
&hsi2c_3 {
	camera-sensor@1a {
		compatible = "sony,imx386";
		reg = <0x1a>;
		clocks = <&cmu_top CLK_DOUT_CMU_CIS_CLK0>;
		assigned-clocks = <&cmu_top CLK_DOUT_CMU_CIS_CLK0>;
		assigned-clock-rates = <24576000>;
		pinctrl-names = "default";
		pinctrl-0 = <&cam_uw_mclk_on>;
		reset-gpios = <&gpp6 3 GPIO_ACTIVE_LOW>;
		/* stock's order: PP3200_BB, PP1300, LDO12S, LDO6, LDO2 */
		vbb-supply = <&pp3200_bb_cam>;
		vbuck-supply = <&pp1300_cam>;
		vif-supply = <&ldo12s>;
		vdig-supply = <&cam_ldo6>;
		vana-supply = <&cam_ldo2>;
		firmware-name = "omamobile/camera/imx386-uw.bin";
		/* 360 still let an odd frame of the 4032x3016 mode drop lines */
		sony,max-line-throughput = <330>;
		orientation = <1>;	/* back */
		rotation = <270>;	/* mounted the other way from the main camera (upside down at 90) */
		status = "disabled";

		port {
			uw_out: endpoint {
				remote-endpoint = <&csis2_in>;
				data-lanes = <1 2 3 4>;
				link-frequencies = /bits/ 64 <774144000>;
			};
		};
	};
};

&csis2 {
	memory-region = <&camera_pool>;
};

&csis2_in {
	remote-endpoint = <&uw_out>;
	data-lanes = <1 2 3 4>;
};

&csis_dcphy {
	/* receive settings, generated from the phone's own camera software */
	firmware-name = "omamobile/camera/gs201-dcphy.bin";
};

/*
 * Ultrawide focus (CAMERA-PLAN.md CAM5.3): an AKM AK7375-type VCM driver at
 * 0x0f on the ultrawide's bus (stock "act-slenderman-sandworm"), on LDO12S
 * and the camera PMIC's LDO4 (2.9 V). Disabled; the camera-uw-lens overlay
 * enables it and links it to the sensor (lens-focus), and the ak7375
 * module must then load with the others or the media graph waits for it.
 */
&hsi2c_3 {
	uw_vcm: lens@f {
		compatible = "asahi-kasei,ak7375";
		reg = <0x0f>;
		vdd-supply = <&cam_ldo4>;
		vio-supply = <&ldo12s>;
		status = "disabled";
	};
};

/*
 * Main camera (CAMERA-PLAN.md CAM-M): the Samsung S5KGN1 [chip ID 0x08e1]
 * at 0x3d on PERIC0 USI1 (Google's I2C bus 1, 1 MHz as stock), three C-PHY
 * trios to CSIS link 1, then CSIS WDMA context 0 as the ultrawide. Its AF
 * VCM driver is an AK7375-type at 0x0c; the module's OIS/EEPROM controller
 * (0x24) and the laser AF (0x29) on the same bus are not described. Stock
 * power-up: PP3200_BB, PP1300, LDO12S, LDO4, 1 ms, SLG switch 3, LDO8,
 * LDO1, 2 ms, reset released, 1 ms, MCLK on (CIS_CLK3 on gpp9-0), 9 ms.
 * The sensor settings expect a 24.576 MHz clock (their EXCK register).
 * All disabled; the camera-main overlay enables them, and the drivers are
 * blacklisted as well.
 */
&usi1 {
	samsung,mode = <USI_MODE_I2C>;
};

&hsi2c_1 {
	clock-frequency = <1000000>;

	main_vcm: lens@c {
		compatible = "asahi-kasei,ak7375";
		reg = <0x0c>;
		vdd-supply = <&cam_ldo4>;
		vio-supply = <&ldo12s>;
		status = "disabled";
	};

	camera-sensor@3d {
		compatible = "samsung,s5kgn1";
		reg = <0x3d>;
		clocks = <&cmu_top CLK_DOUT_CMU_CIS_CLK3>;
		assigned-clocks = <&cmu_top CLK_DOUT_CMU_CIS_CLK3>;
		assigned-clock-rates = <24576000>;
		pinctrl-names = "default";
		pinctrl-0 = <&cam_main_mclk_on>;
		reset-gpios = <&gpp2 2 GPIO_ACTIVE_LOW>;
		vbb-supply = <&pp3200_bb_cam>;
		vbuck-supply = <&pp1300_cam>;
		vio-supply = <&ldo12s>;
		vaux-supply = <&cam_ldo4>;
		vsw-supply = <&cam_sw3>;
		vdig-supply = <&cam_ldo8>;
		vana-supply = <&cam_ldo1>;
		firmware-name = "omamobile/camera/s5kgn1-main.bin";
		/* the CSIS WDMA drops lines arriving above ~400 MB/s */
		samsung,max-line-throughput = <360>;
		orientation = <1>;	/* back */
		rotation = <90>;	/* upright in Snapshot with the phone in portrait */
		status = "disabled";

		port {
			main_out: endpoint {
				remote-endpoint = <&csis1_in>;
				bus-type = <MEDIA_BUS_TYPE_CSI2_CPHY>;
				data-lanes = <1 2 3>;
				/* half the trio symbol rate [I], from the data file */
				link-frequencies = /bits/ 64 <931229968>;
			};
		};
	};
};

&pinctrl_peric0 {
	cam_main_mclk_on: cam-main-mclk-on-pins {
		samsung,pins = "gpp9-0";
		samsung,pin-function = <GS101_PIN_FUNC_2>;
		samsung,pin-pud = <GS101_PIN_PULL_NONE>;
		samsung,pin-drv = <GS101_PIN_DRV_2_5_MA>;
	};
};

&csis1 {
	memory-region = <&camera_pool>;
};

&csis1_in {
	remote-endpoint = <&main_out>;
	bus-type = <MEDIA_BUS_TYPE_CSI2_CPHY>;
	data-lanes = <1 2 3>;
};

/*
 * Front camera (CAMERA-PLAN.md CAM7): the Samsung S5K3J1 [chip ID 0x30a1]
 * at 0x10 on PERIC0 USI2 (Google's I2C bus 2, 950 kHz as stock), four
 * D-PHY lanes to CSIS link 0, then CSIS WDMA context 0 as the others. Fixed
 * focus; the module EEPROM at 0x51 is not described. Stock power-up:
 * PP3200_BB, PP1300, LDO12S, LDO8, SLG switch 4, 1 ms, MCLK on (CIS_CLK1
 * on gpp5-0), 1 ms, reset released (gpp4-2), 8 ms. Its settings expect the
 * 24.576 MHz oscillator as the other cameras' do. All disabled; the
 * camera-front overlay enables them, and the drivers are blacklisted.
 */
&usi2 {
	samsung,mode = <USI_MODE_I2C>;
};

&hsi2c_2 {
	clock-frequency = <950000>;

	camera-sensor@10 {
		compatible = "samsung,s5k3j1";
		reg = <0x10>;
		clocks = <&cmu_top CLK_DOUT_CMU_CIS_CLK1>;
		assigned-clocks = <&cmu_top CLK_DOUT_CMU_CIS_CLK1>;
		assigned-clock-rates = <24576000>;
		pinctrl-names = "default";
		pinctrl-0 = <&cam_front_mclk_on>;
		reset-gpios = <&gpp4 2 GPIO_ACTIVE_LOW>;
		vbb-supply = <&pp3200_bb_cam>;
		vbuck-supply = <&pp1300_cam>;
		vio-supply = <&ldo12s>;
		vdig-supply = <&cam_ldo8>;
		vsw-supply = <&cam_sw4>;
		firmware-name = "omamobile/camera/s5k3j1-front.bin";
		samsung,max-line-throughput = <360>;
		orientation = <0>;	/* front */
		rotation = <90>;	/* upside down at 270 in Snapshot */
		status = "disabled";

		port {
			front_out: endpoint {
				remote-endpoint = <&csis0_in>;
				data-lanes = <1 2 3 4>;
				/* 1665 Mbps per lane, from the data file [I] */
				link-frequencies = /bits/ 64 <832512000>;
			};
		};
	};
};

&csis0 {
	memory-region = <&camera_pool>;
};

&csis0_in {
	remote-endpoint = <&front_out>;
	data-lanes = <1 2 3 4>;
};

/*
 * Telephoto (CAMERA-PLAN.md CAM-T): the Samsung S5KGM5 [chip ID 0x08d5] at
 * 0x2d on PERIC0 USI4 (Google's I2C bus 4, 1 MHz as stock), two C-PHY
 * trios to CSIS link 4 / DC-PHY slave 4, which also needs to expect its
 * LRTE packet delimiters [I]. The folded optics mirror the image, which
 * the sensor undoes with a vertical readout flip [I]. Stock power-up:
 * PP3200_BB, PP1300, LDO12S, 0.3 ms, LDO7, LDO3, MCLK on (CIS_CLK2 on
 * gpp7-0), 1 ms, reset released (gpp6-2), 10 ms. Its SEM1215SA at 0x34
 * drives focus and OIS and holds the module's calibration; stock powers
 * it from LDO12S, 1 ms, SLG LDO5 2.85 V and switch 1. gpp8-2 (the torch's
 * HWEN) shares the bank with this bus's pins. All disabled; the
 * camera-tele overlay enables them, and the drivers are blacklisted.
 */
&usi4 {
	samsung,mode = <USI_MODE_I2C>;
};

&hsi2c_4 {
	/*
	 * Below 1 MHz: i2c-exynos5 runs 1 MHz as high-speed mode (master
	 * code first), which stock's driver doesn't without samsung,hs-mode;
	 * the telephoto's SEM1215SA lens hung the bus in it.
	 */
	clock-frequency = <950000>;

	camera-sensor@2d {
		compatible = "samsung,s5kgm5";
		reg = <0x2d>;
		clocks = <&cmu_top CLK_DOUT_CMU_CIS_CLK2>;
		assigned-clocks = <&cmu_top CLK_DOUT_CMU_CIS_CLK2>;
		assigned-clock-rates = <24576000>;
		pinctrl-names = "default";
		pinctrl-0 = <&cam_tele_mclk_on>;
		reset-gpios = <&gpp6 2 GPIO_ACTIVE_LOW>;
		vbb-supply = <&pp3200_bb_cam>;
		vbuck-supply = <&pp1300_cam>;
		vio-supply = <&ldo12s>;
		vdig-supply = <&cam_ldo7>;
		vana-supply = <&cam_ldo3>;
		firmware-name = "omamobile/camera/s5kgm5-tele.bin";
		samsung,max-line-throughput = <360>;
		samsung,vertical-flip;
		orientation = <1>;	/* back */
		rotation = <270>;	/* with the vertical flip: upside down at 90 in Snapshot */
		status = "disabled";

		port {
			tele_out: endpoint {
				remote-endpoint = <&csis4_in>;
				bus-type = <MEDIA_BUS_TYPE_CSI2_CPHY>;
				data-lanes = <1 2>;
				/* half the trio symbol rate per mode, from the data file [I] */
				link-frequencies = /bits/ 64 <901120000 1019904000>;
			};
		};
	};

	tele_lens: lens@34 {
		compatible = "semco,sem1215sa";
		reg = <0x34>;
		vbb-supply = <&pp3200_bb_cam>;
		vio-supply = <&ldo12s>;
		vdd-supply = <&cam_ldo5>;
		vsw-supply = <&cam_sw1>;
		status = "disabled";
	};
};

&csis4 {
	memory-region = <&camera_pool>;
	google,lrte-packet-delimiters;
};

&csis4_in {
	remote-endpoint = <&tele_out>;
	bus-type = <MEDIA_BUS_TYPE_CSI2_CPHY>;
	data-lanes = <1 2>;
};

&pinctrl_peric0 {
	cam_front_mclk_on: cam-front-mclk-on-pins {
		samsung,pins = "gpp5-0";
		samsung,pin-function = <GS101_PIN_FUNC_2>;
		samsung,pin-pud = <GS101_PIN_PULL_NONE>;
		samsung,pin-drv = <GS101_PIN_DRV_2_5_MA>;
	};

	cam_tele_mclk_on: cam-tele-mclk-on-pins {
		samsung,pins = "gpp7-0";
		samsung,pin-function = <GS101_PIN_FUNC_2>;
		samsung,pin-pud = <GS101_PIN_PULL_NONE>;
		samsung,pin-drv = <GS101_PIN_DRV_2_5_MA>;
	};
};
